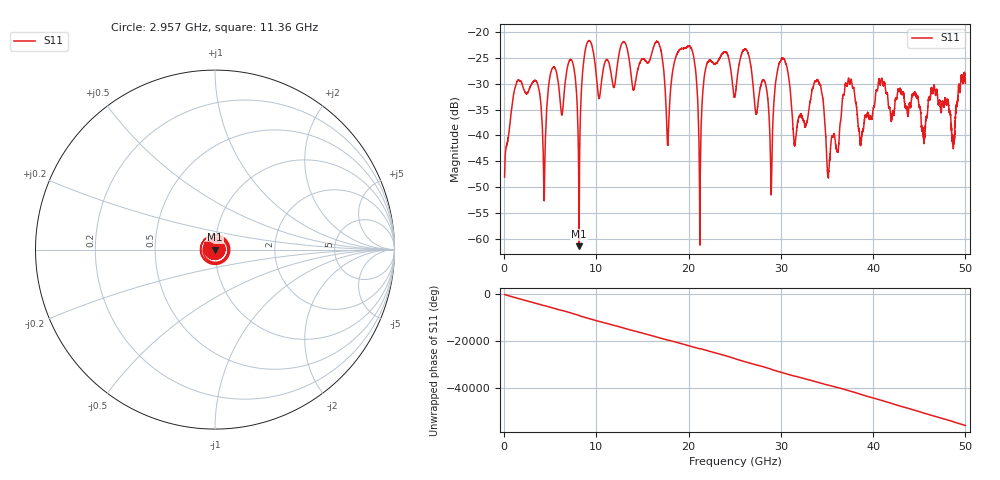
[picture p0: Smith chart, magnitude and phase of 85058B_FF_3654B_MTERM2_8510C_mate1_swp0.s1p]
!Created with skrf (http://scikit-rf.org).
# Hz S RI R 50.0
!freq ReS11 ImS11
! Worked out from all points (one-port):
!   10001 points, 45 MHz to 50 GHz, reference 50 ohm
!   lowest |S11| = -61.4 dB at 8.113 GHz (marker M1), VSWR 1.00, Z = 50 - j0.0829 ohm
!   |S11| at or under -10 dB: start of sweep to end of sweep
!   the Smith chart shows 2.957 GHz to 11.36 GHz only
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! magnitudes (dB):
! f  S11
! 45 MHz  -48.1
! 1.509 GHz  -29.3
! 3.577 GHz  -29.9
! 4.311 GHz  -51.6
! 5.18 GHz  -27.1
! 6.289 GHz  -35.9
! 7.323 GHz  -25.5
! 8.113 GHz  -61.4
! 9.032 GHz  -21.9
! 12.53 GHz  -23.5
! 16.7 GHz  -22.0
! 17.74 GHz  -41.8
! 18.78 GHz  -24.1
! 20.43 GHz  -23.9
! 21.22 GHz  -59.6
! 22.13 GHz  -25.8
! 25.02 GHz  -32.4
! 26.29 GHz  -23.6
! 28.94 GHz  -51.0
! 30.24 GHz  -25.1
! 31.27 GHz  -37.2
! 34.07 GHz  -29.5
! 35.17 GHz  -47.3
! 37.51 GHz  -29.8
! 38.67 GHz  -41.7
! 43.76 GHz  -36.3
! 48.68 GHz  -41.7
! 50 GHz  -29.9
